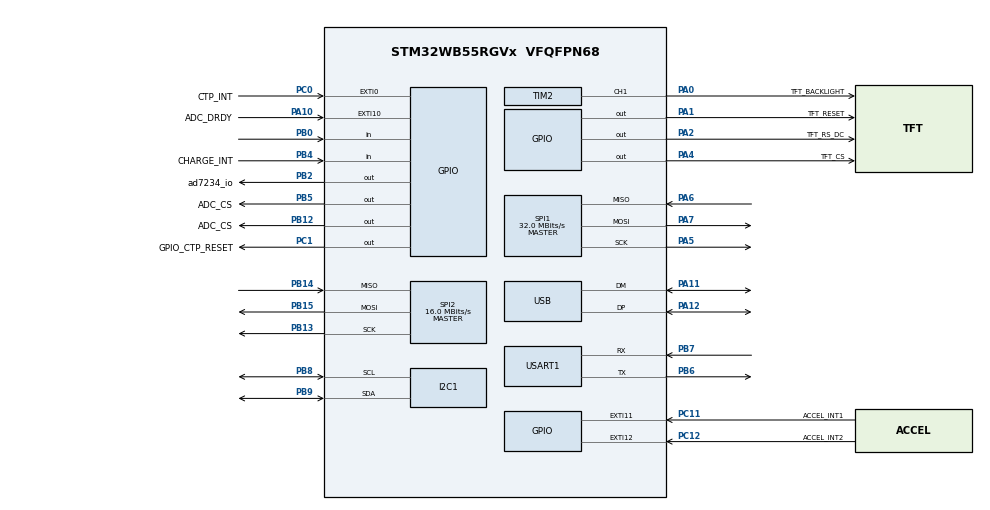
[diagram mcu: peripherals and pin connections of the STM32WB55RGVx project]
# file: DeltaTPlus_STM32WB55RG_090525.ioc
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Dma.Request0=SPI1_TX
Dma.SPI1_TX.0.Direction=DMA_MEMORY_TO_PERIPH
Dma.SPI1_TX.0.EventEnable=DISABLE
Dma.SPI1_TX.0.Instance=DMA1_Channel1
Dma.SPI1_TX.0.MemDataAlignment=DMA_MDATAALIGN_BYTE
Dma.SPI1_TX.0.MemInc=DMA_MINC_ENABLE
Dma.SPI1_TX.0.Mode=DMA_NORMAL
Dma.SPI1_TX.0.PeriphDataAlignment=DMA_PDATAALIGN_BYTE
Dma.SPI1_TX.0.PeriphInc=DMA_PINC_DISABLE
Dma.SPI1_TX.0.Polarity=HAL_DMAMUX_REQ_GEN_RISING
Dma.SPI1_TX.0.Priority=DMA_PRIORITY_HIGH
Dma.SPI1_TX.0.RequestNumber=1
Dma.SPI1_TX.0.SignalID=NONE
Dma.SPI1_TX.0.SyncEnable=DISABLE
Dma.SPI1_TX.0.SyncPolarity=HAL_DMAMUX_SYNC_NO_EVENT
Dma.SPI1_TX.0.SyncRequestNumber=1
Dma.SPI1_TX.0.SyncSignalID=NONE
I2C1.Timing=0x10B17DB5
Mcu.Family=STM32WB
Mcu.Name=STM32WB55RGVx
Mcu.Package=VFQFPN68
NVIC.DMA1_Channel1_IRQn=true\:0\:0\:false\:false\:true\:false\:true\:true
NVIC.EXTI0_IRQn=true\:0\:0\:false\:false\:true\:true\:true\:true
NVIC.EXTI15_10_IRQn=true\:0\:0\:false\:false\:true\:true\:true\:true
NVIC.HSEM_IRQn=true\:0\:0\:false\:false\:true\:false\:true\:true
NVIC.IPCC_C1_RX_IRQn=true\:0\:0\:false\:false\:true\:true\:true\:true
NVIC.IPCC_C1_TX_IRQn=true\:0\:0\:false\:false\:true\:true\:true\:true
NVIC.PriorityGroup=NVIC_PRIORITYGROUP_4
NVIC.RTC_WKUP_IRQn=true\:0\:0\:false\:false\:true\:true\:true\:true
NVIC.SPI1_IRQn=true\:0\:0\:false\:false\:true\:true\:true\:true
NVIC.TIM1_UP_TIM16_IRQn=true\:0\:0\:false\:false\:true\:true\:true\:true
NVIC.USART1_IRQn=true\:0\:0\:false\:false\:true\:true\:true\:true
NVIC.USB_LP_IRQn=true\:0\:0\:false\:false\:true\:true\:true\:true
OSC_IN.Mode=HSE-External-Oscillator
OSC_IN.Signal=RCC_OSC_IN
OSC_OUT.Mode=HSE-External-Oscillator
OSC_OUT.Signal=RCC_OSC_OUT
PA0.GPIO_Label=TFT_BACKLIGHT
PA0.Signal=S_TIM2_CH1
PA1.GPIO_Label=TFT_RESET
PA1.Signal=GPIO_Output
PA10.GPIO_Label=ADC_DRDY
PA10.GPIO_ModeDefaultEXTI=GPIO_MODE_IT_FALLING
PA10.GPIO_PuPd=GPIO_PULLUP
PA10.Signal=GPXTI10
PA11.Mode=Device
PA11.Signal=USB_DM
PA12.Mode=Device
PA12.Signal=USB_DP
PA13.Mode=Trace_Asynchronous_SW
PA13.Signal=SYS_JTMS-SWDIO
PA14.Mode=Trace_Asynchronous_SW
PA14.Signal=SYS_JTCK-SWCLK
PA2.GPIO_Label=TFT_RS_DC
PA2.Signal=GPIO_Output
PA4.GPIO_Label=TFT_CS
PA4.GPIO_Speed=GPIO_SPEED_FREQ_VERY_HIGH
PA4.PinState=GPIO_PIN_RESET
PA4.Signal=GPIO_Output
PA5.GPIO_Speed=GPIO_SPEED_FREQ_VERY_HIGH
PA5.Mode=Full_Duplex_Master
PA5.Signal=SPI1_SCK
PA6.GPIO_Speed=GPIO_SPEED_FREQ_VERY_HIGH
PA6.Mode=Full_Duplex_Master
PA6.Signal=SPI1_MISO
PA7.GPIO_Speed=GPIO_SPEED_FREQ_VERY_HIGH
PA7.Mode=Full_Duplex_Master
PA7.Signal=SPI1_MOSI
PB0.Signal=GPIO_Input
PB12.GPIO_Label=ADC_CS
PB12.GPIO_Speed=GPIO_SPEED_FREQ_VERY_HIGH
PB12.Signal=GPIO_Output
PB13.GPIO_Speed=GPIO_SPEED_FREQ_VERY_HIGH
PB13.Mode=Full_Duplex_Master
PB13.Signal=SPI2_SCK
PB14.Mode=Full_Duplex_Master
PB14.Signal=SPI2_MISO
PB15.GPIO_Speed=GPIO_SPEED_FREQ_VERY_HIGH
PB15.Mode=Full_Duplex_Master
PB15.Signal=SPI2_MOSI
PB2.GPIO_Label=ad7234_io
PB2.Signal=GPIO_Output
PB3.Mode=Trace_Asynchronous_SW
PB3.Signal=SYS_JTDO-SWO
PB4.GPIO_Label=CHARGE_INT
PB4.Signal=GPIO_Input
PB5.GPIO_Label=ADC_CS
PB5.Signal=GPIO_Output
PB6.Mode=Asynchronous
PB6.Signal=USART1_TX
PB7.Mode=Asynchronous
PB7.Signal=USART1_RX
PB8.Mode=I2C
PB8.Signal=I2C1_SCL
PB9.Mode=I2C
PB9.Signal=I2C1_SDA
PC0.GPIO_Label=CTP_INT
PC0.GPIO_ModeDefaultEXTI=GPIO_MODE_IT_FALLING
PC0.GPIO_PuPd=GPIO_PULLUP
PC0.Signal=GPXTI0
PC1.GPIO_Label=GPIO_CTP_RESET
PC1.PinState=GPIO_PIN_SET
PC1.Signal=GPIO_Output
PC11.GPIO_Label=ACCEL_INT1
PC11.GPIO_ModeDefaultEXTI=GPIO_MODE_IT_RISING
PC11.GPIO_PuPd=GPIO_PULLDOWN
PC11.Signal=GPXTI11
PC12.GPIO_Label=ACCEL_INT2
PC12.GPIO_ModeDefaultEXTI=GPIO_MODE_IT_RISING
PC12.GPIO_PuPd=GPIO_PULLDOWN
PC12.Signal=GPXTI12
PC14-OSC32_IN.Mode=LSE-External-Oscillator
PC14-OSC32_IN.Signal=RCC_OSC32_IN
PC15-OSC32_OUT.Mode=LSE-External-Oscillator
PC15-OSC32_OUT.Signal=RCC_OSC32_OUT
ProjectManager.HeapSize=0x400
ProjectManager.StackSize=0x1000
ProjectManager.TargetToolchain=STM32CubeIDE
RCC.ADCFreq_Value=48000000
RCC.AHB2CLKDivider=RCC_SYSCLK_DIV2
RCC.AHBFreq_Value=64000000
RCC.APB1Freq_Value=64000000
RCC.APB1TimFreq_Value=64000000
RCC.APB2Freq_Value=64000000
RCC.APB2TimFreq_Value=64000000
RCC.APB3Freq_Value=16000000
RCC.CortexFreq_Value=64000000
RCC.HCLKFreq_Value=64000000
RCC.HSE_VALUE=32000000
RCC.HSI48_VALUE=48000000
RCC.HSI_VALUE=16000000
RCC.PLLN=32
RCC.PLLSAI1N=24
RCC.RFWKPClockSelection=RCC_RFWKPCLKSOURCE_LSE
RCC.RTCClockSelection=RCC_RTCCLKSOURCE_LSE
RCC.SMPSCLockSelection=RCC_SMPSCLKSOURCE_HSE
RCC.SMPSDivider=4
RCC.SYSCLKFreq_VALUE=64000000
RCC.SYSCLKSource=RCC_SYSCLKSOURCE_PLLCLK
RCC.USBFreq_Value=48000000
RCC.VCOOutputFreq_Value=128000000
RF1.Mode=RF1_Activate
RF1.Signal=RF_RF1
SH.S_TIM2_CH1.0=TIM2_CH1,PWM Generation1 CH1
SPI1.BaudRatePrescaler=SPI_BAUDRATEPRESCALER_2
SPI1.CLKPhase=SPI_PHASE_1EDGE
SPI1.CLKPolarity=SPI_POLARITY_LOW
SPI1.CalculateBaudRate=32.0 MBits/s
SPI1.DataSize=SPI_DATASIZE_8BIT
SPI1.Direction=SPI_DIRECTION_2LINES
SPI1.Mode=SPI_MODE_MASTER
SPI1.VirtualType=VM_MASTER
SPI2.BaudRatePrescaler=SPI_BAUDRATEPRESCALER_4
SPI2.CLKPhase=SPI_PHASE_2EDGE
SPI2.CLKPolarity=SPI_POLARITY_HIGH
SPI2.CalculateBaudRate=16.0 MBits/s
SPI2.DataSize=SPI_DATASIZE_8BIT
SPI2.Direction=SPI_DIRECTION_2LINES
SPI2.Mode=SPI_MODE_MASTER
SPI2.VirtualType=VM_MASTER
STM32_WPAN.AD_TYPE_COMPLETE_LOCAL_NAME=MyCST
STM32_WPAN.AD_TYPE_COMPLETE_LOCAL_NAME_LENGTH=6
STM32_WPAN.CFG_BLE_NUM_LINK=8
STM32_WPAN.CFG_GAP_DEVICE_NAME=MY_APPLI
STM32_WPAN.CFG_LSCLK_LSE=0
STM32_WPAN.CFG_TX_POWER=(0x19) /* 0dBm */
STM32_WPAN.CUSTOM_P2P_SERVER=Enabled
STM32_WPAN.CUSTOM_TEMPLATE=Disabled
STM32_WPAN.DBG_TRACE_USE_CIRCULAR_QUEUE=1
STM32_WPAN.INCLUDE_AD_TYPE_COMPLETE_LOCAL_NAME=1
STM32_WPAN.INCLUDE_AD_TYPE_MANUFACTURER_SPECIFIC_DATA=1
STM32_WPAN.INCLUDE_AD_TYPE_TX_POWER_LEVEL=1
STM32_WPAN.LOCAL_NAME=DTP
STM32_WPAN.LOCAL_NAME_FORMATTED=,'D','T','P'
STM32_WPAN.NUMBER_OF_SERVICES=1
STM32_WPAN.SERVICE1_CHAR1_GATT_NOTIFY_READ_REQ_AND_WAIT_FOR_APPL_RESP=\ 
STM32_WPAN.SERVICE1_CHAR1_GATT_NOTIFY_WRITE_REQ_AND_WAIT_FOR_APPL_RESP=\ 
STM32_WPAN.SERVICE1_CHAR1_LENGTH_CHARACTERISTIC=CHAR_VALUE_LEN_VARIABLE
STM32_WPAN.SERVICE1_CHAR1_LONG_NAME=My_LED_Char
STM32_WPAN.SERVICE1_CHAR1_PROP_READ=CHAR_PROP_READ
STM32_WPAN.SERVICE1_CHAR1_PROP_WRITE_WITHOUT_RESP=CHAR_PROP_WRITE_WITHOUT_RESP
STM32_WPAN.SERVICE1_CHAR1_SHORT_NAME=LED_C
STM32_WPAN.SERVICE1_CHAR1_UUID=FE 41
STM32_WPAN.SERVICE1_CHAR1_VALUE_LENGTH=2
STM32_WPAN.SERVICE1_CHAR2_GATT_NOTIFY_READ_REQ_AND_WAIT_FOR_APPL_RESP=\ 
STM32_WPAN.SERVICE1_CHAR2_GATT_NOTIFY_WRITE_REQ_AND_WAIT_FOR_APPL_RESP=\ 
STM32_WPAN.SERVICE1_CHAR2_LENGTH_CHARACTERISTIC=CHAR_VALUE_LEN_VARIABLE
STM32_WPAN.SERVICE1_CHAR2_LONG_NAME=My_Switch_Char
STM32_WPAN.SERVICE1_CHAR2_PROP_NOTIFY=CHAR_PROP_NOTIFY
STM32_WPAN.SERVICE1_CHAR2_SHORT_NAME=SWITCH_C
STM32_WPAN.SERVICE1_CHAR2_UUID=FE 42
STM32_WPAN.SERVICE1_CHAR2_VALUE_LENGTH=2
STM32_WPAN.SERVICE1_CHAR3_GATT_NOTIFY_READ_REQ_AND_WAIT_FOR_APPL_RESP=\ 
STM32_WPAN.SERVICE1_CHAR3_GATT_NOTIFY_WRITE_REQ_AND_WAIT_FOR_APPL_RESP=\ 
STM32_WPAN.SERVICE1_CHAR3_LENGTH_CHARACTERISTIC=CHAR_VALUE_LEN_VARIABLE
STM32_WPAN.SERVICE1_CHAR3_LONG_NAME=REBOOT_REQUEST_CHAR
STM32_WPAN.SERVICE1_CHAR3_PROP_WRITE_WITHOUT_RESP=CHAR_PROP_WRITE_WITHOUT_RESP
STM32_WPAN.SERVICE1_CHAR3_SHORT_NAME=REBOOT_REQUEST_CH
STM32_WPAN.SERVICE1_CHAR3_UUID=00 00 FE 11 8E 22 45 41 9D 4C 21 ED AE 82 ED 19
STM32_WPAN.SERVICE1_CHAR3_UUID_128_INPUT_TYPE=1
STM32_WPAN.SERVICE1_CHAR3_VALUE_LENGTH=3
STM32_WPAN.SERVICE1_CHAR4_GATT_NOTIFY_ATTRIBUTE_WRITE=\ 
STM32_WPAN.SERVICE1_CHAR4_GATT_NOTIFY_READ_REQ_AND_WAIT_FOR_APPL_RESP=\ 
STM32_WPAN.SERVICE1_CHAR4_GATT_NOTIFY_WRITE_REQ_AND_WAIT_FOR_APPL_RESP=\ 
STM32_WPAN.SERVICE1_CHAR4_LENGTH_CHARACTERISTIC=CHAR_VALUE_LEN_VARIABLE
STM32_WPAN.SERVICE1_CHAR4_LONG_NAME=DELTA_T_CHAR
STM32_WPAN.SERVICE1_CHAR4_PROP_NOTIFY=CHAR_PROP_NOTIFY
STM32_WPAN.SERVICE1_CHAR4_SHORT_NAME=DELTA_T_CH
STM32_WPAN.SERVICE1_CHAR4_UUID=FE 43
STM32_WPAN.SERVICE1_CHAR4_VALUE_LENGTH=4
STM32_WPAN.SERVICE1_LONG_NAME=My_P2P_Server
STM32_WPAN.SERVICE1_NUMBER_OF_CHARACTERISTICS=4
STM32_WPAN.SERVICE1_SHORT_NAME=P2PS
STM32_WPAN.SERVICE1_UUID=FE 40
TIM16.AutoReloadPreload=TIM_AUTORELOAD_PRELOAD_ENABLE
TIM16.Period=99
TIM16.Prescaler=63
TIM2.Channel-PWM\ Generation1\ CH1=TIM_CHANNEL_1
TIM2.Period=999
TIM2.Prescaler=31
USART1.VirtualMode-Asynchronous=VM_ASYNC
USB_DEVICE.CLASS_NAME_FS=DFU
USB_DEVICE.VirtualMode=Dfu
USB_DEVICE.VirtualModeFS=Dfu_FS
VP_HSEM_VS_HSEM.Mode=HSEM_Activate
VP_IPCC_VS_IPCC.Mode=IPCC_Activate
VP_MEMORYMAP_VS_MEMORYMAP.Mode=CurAppReg
VP_RNG_VS_RNG.Mode=RNG_Activate
VP_RTC_VS_RTC_Activate.Mode=RTC_Enabled
VP_RTC_VS_RTC_WakeUp_intern.Mode=WakeUp
VP_SEQUENCER_VS_SEQUENCER.Mode=SEQUENCER_Enabled
VP_STM32_WPAN_VS_BLE_HOST.Mode=STM32_WPAN_Enabled
VP_TIM16_VS_ClockSourceINT.Mode=Enable_Timer
VP_TINY_LPM_VS_TINY_LPM.Mode=TINY_LPM_Enabled
VP_USB_DEVICE_VS_USB_DEVICE_DFU_FS.Mode=DFU_FS
board=custom

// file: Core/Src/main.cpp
/* USER CODE BEGIN Header */
/**
 ******************************************************************************
 * @file           : main.c
 * @brief          : Main program body
 ******************************************************************************
 * @attention
 *
 * Copyright (c) 2025 STMicroelectronics.
 * All rights reserved.
 *
 * This software is licensed under terms that can be found in the LICENSE file
 * in the root directory of this software component.
 * If no LICENSE file comes with this software, it is provided AS-IS.
 *
 ******************************************************************************
 */
/* USER CODE END Header */

#include <accel.h>
#include <backlight.h>
#include "main.h"
#include "dma.h"
#include "i2c.h"
#include "ipcc.h"
#include "memorymap.h"
#include "rf.h"
#include "rtc.h"
#include "rng.h"
#include "spi.h"
#include "tim.h"
#include "usart.h"
#include "usb_device.h"
#include "gpio.h"
/* USER CODE BEGIN Includes */
// #include "Adafruit_GFX.h"
#include "usbd_cdc_if.h"
#include "stm32_seq.h"
#include <string.h>

#include "Thermocouples.hpp"
// #include "Thermocouples2.h"
#include "ad7124-driver.h"
#include "DeltaT.h"
#include "BatteryMonitor.h"
#include "FT5436_Touch.h"
#include <stdarg.h>  //

FlashStorage_t storage;
uint8_t calibrationSamples = 0;
uint8_t calibrationReady = 0;
uint8_t calibrate = 0;

#ifdef USE_SERVER
#include "p2p_server_app.h"
#else
#include "p2p_client_app.h"
#endif

#include "widgets.h"

#define LV_LVGL_H_INCLUDE_SIMPLE

#include <math.h>

#include "lvgl.h"
#include "lv_port_disp.h"

// #include "ST7789.h"

/* USER CODE END Includes */

int ble_delay = 0;
int send_ble = 0;

/* USER CODE BEGIN PTD */
#define UART_RX_BUFFER_SIZE 256
uint8_t UART_RX_BUFFER[UART_RX_BUFFER_SIZE] = {0};
uint8_t UART_BUFFER[UART_RX_BUFFER_SIZE] = {0};

uint8_t UART_RX_BYTE = 0;
uint8_t UART_RX_READY = 0;
volatile int uart_ready = 0;

// static uint8_t buffer2[ST7789_WIDTH * ST7789_HEIGHT / 32 * BYTE_PER_PIXEL];
/* USER CODE END PTD */

// static struct ad7124_dev *pAd7124_dev = NULL;

/* USER CODE BEGIN PV */
/*Copy this file as "lv_port_disp.c" and set this value to "1" to enable content*/
#if 1

/*********************
 *      INCLUDES
 *********************/
/* Include STM32Cube files here, e.g.:
#include "stm32f7xx_hal.h"
*/
#include "lv_port_disp.h"
#include "./src/drivers/display/st7789/lv_st7789.h"

/*********************
 *      DEFINES
 *********************/
#define MY_DISP_HOR_RES 240

#ifndef MY_DISP_HOR_RES
#warning Please define or replace the macro MY_DISP_HOR_RES with the actual screen width, default value 320 is used for now.
#define MY_DISP_HOR_RES 320
#endif

#define MY_DISP_VER_RES 320

#ifndef MY_DISP_VER_RES
#warning Please define or replace the macro MY_DISP_VER_RES with the actual screen height, default value 240 is used for now.
#define MY_DISP_VER_RES 240
#endif

#define BUS_SPI1_POLL_TIMEOUT 0x1000U

/**********************
 *      TYPEDEFS
 **********************/

/**********************
 *  STATIC PROTOTYPES
 **********************/
void lcd_color_transfer_ready_cb(SPI_HandleTypeDef *hspi);
int32_t lcd_io_init(void);
void lcd_send_cmd(lv_display_t *disp, const uint8_t *cmd, size_t cmd_size, const uint8_t *param,
                  size_t param_size);
void lcd_send_color(lv_display_t *disp, const uint8_t *cmd, size_t cmd_size, uint8_t *param,
                    size_t param_size);

/**********************
 *  STATIC VARIABLES
 **********************/
lv_indev_t *indev;

lv_display_t *lcd_disp;
volatile int lcd_bus_busy = 0;

/**********************
 *      MACROS
 **********************/
void debug_printf(const char *format, ...)
{
    char buffer[128];
    va_list args;
    va_start(args, format);
    int len = vsnprintf(buffer, sizeof(buffer), format, args);
    va_end(args);

    if (len > 0) {
        //HAL_UART_Transmit(&huart1, (uint8_t*)buffer, len, 100);
        CDC_Transmit_FS((uint8_t*)buffer, len);
    }
}
/**********************
 *   GLOBAL FUNCTIONS
 **********************/

void lv_port_disp_init(void)
{
  /* Initialize LCD I/O */
  if (lcd_io_init() != 0)
    return;

  /* Create the LVGL display object and the ST7789 LCD display driver */
  lcd_disp = lv_st7789_create(MY_DISP_HOR_RES, MY_DISP_VER_RES, LV_LCD_FLAG_NONE, lcd_send_cmd, lcd_send_color);
  lv_display_set_rotation(lcd_disp, LV_DISPLAY_ROTATION_180); /* set landscape orientation */

  lv_display_set_color_format(lcd_disp, LV_COLOR_FORMAT_RGB565_SWAPPED);

  lv_display_set_buffers(lcd_disp, draw_buffer1, draw_buffer2, DRAW_BUFFER_SIZE, LV_DISPLAY_RENDER_MODE_PARTIAL);
}

/**********************
 *   STATIC FUNCTIONS
 **********************/

/* Callback is called when background transfer finished */
void lcd_color_transfer_ready_cb(SPI_HandleTypeDef *hspi)
{
  /* CS high */
  HAL_GPIO_WritePin(GPIOA, GPIO_PIN_4, GPIO_PIN_SET);
  lcd_bus_busy = 0;
  lv_display_flush_ready(lcd_disp);
}

/* Initialize LCD I/O bus, reset LCD */
int32_t lcd_io_init(void)
{
  /* Register SPI Tx Complete Callback */
  // HAL_SPI_RegisterCallback(&hspi1, HAL_SPI_TX_COMPLETE_CB_ID, lcd_color_transfer_ready_cb);

  /* reset LCD */
  HAL_GPIO_WritePin(GPIOA, GPIO_PIN_1, GPIO_PIN_SET);
  HAL_Delay(1);
  HAL_GPIO_WritePin(GPIOA, GPIO_PIN_1, GPIO_PIN_RESET);
  HAL_Delay(10);
  HAL_GPIO_WritePin(GPIOA, GPIO_PIN_1, GPIO_PIN_SET);
  HAL_Delay(120);

  HAL_GPIO_WritePin(GPIOA, GPIO_PIN_4, GPIO_PIN_SET);
  HAL_GPIO_WritePin(GPIOA, GPIO_PIN_2, GPIO_PIN_SET);

  return HAL_OK;
}

/* Platform-specific implementation of the LCD send command function. In general this should use polling transfer. */
void lcd_send_cmd(lv_display_t *disp, const uint8_t *cmd, size_t cmd_size, const uint8_t *param,
                  size_t param_size)
{
  LV_UNUSED(disp);
  while (lcd_bus_busy)
    ; /* wait until previous transfer is finished */
  /* Set the SPI in 8-bit mode */
  hspi1.Init.DataSize = SPI_DATASIZE_8BIT;
  HAL_SPI_Init(&hspi1);
  /* DCX low (command) */
  HAL_GPIO_WritePin(GPIOA, GPIO_PIN_2, GPIO_PIN_RESET);
  /* CS low */
  HAL_GPIO_WritePin(GPIOA, GPIO_PIN_4, GPIO_PIN_RESET);
  /* send command */
  if (HAL_SPI_Transmit(&hspi1, cmd, cmd_size, BUS_SPI1_POLL_TIMEOUT) == HAL_OK)
  {
    /* DCX high (data) */
    HAL_GPIO_WritePin(GPIOA, GPIO_PIN_2, GPIO_PIN_SET);
    /* for short data blocks we use polling transfer */
    HAL_SPI_Transmit(&hspi1, (uint8_t *)param, (uint16_t)param_size, BUS_SPI1_POLL_TIMEOUT);
    /* CS high */
    HAL_GPIO_WritePin(GPIOA, GPIO_PIN_4, GPIO_PIN_SET);
  }
}

/* Platform-specific implementation of the LCD send color function. For better performance this should use DMA transfer.
 * In case of a DMA transfer a callback must be installed to notify LVGL about the end of the transfer.
 */
void lcd_send_color(lv_display_t *disp, const uint8_t *cmd, size_t cmd_size, uint8_t *param,
                    size_t param_size)
{

  // snprintf((char *)UART_BUFFER, 64, "lcd_send_color\r\n");
  // HAL_UART_Transmit_IT(&huart1, UART_BUFFER, strlen((char *)UART_BUFFER));

  LV_UNUSED(disp);
  while (lcd_bus_busy)
    ; /* wait until previous transfer is finished */
  /* Set the SPI in 8-bit mode */
  hspi1.Init.DataSize = SPI_DATASIZE_8BIT;
  HAL_SPI_Init(&hspi1);
  /* DCX low (command) */
  HAL_GPIO_WritePin(GPIOA, GPIO_PIN_2, GPIO_PIN_RESET);
  /* CS low */
  HAL_GPIO_WritePin(GPIOA, GPIO_PIN_4, GPIO_PIN_RESET);
  /* send command */
  if (HAL_SPI_Transmit(&hspi1, cmd, cmd_size, BUS_SPI1_POLL_TIMEOUT) == HAL_OK)
  {
    /* DCX high (data) */
    HAL_GPIO_WritePin(GPIOA, GPIO_PIN_2, GPIO_PIN_SET);
    /* for color data use DMA transfer */
    /* Set the SPI in 16-bit mode to match endianness */
    // hspi1.Init.DataSize = SPI_DATASIZE_16BIT;
    // HAL_SPI_Init(&hspi1);
    lcd_bus_busy = 1;
    HAL_SPI_Transmit_DMA(&hspi1, param, (uint16_t)param_size);
    /* NOTE: CS will be reset in the transfer ready callback */
  }
}

#else /*Enable this file at the top*/

/*This dummy typedef exists purely to silence -Wpedantic.*/
typedef int keep_pedantic_happy;
#endif

/* USER CODE END PV */

void SystemClock_Config(void);
void PeriphCommonClock_Config(void);

/* USER CODE BEGIN 0 */
volatile int timerCounter = 0;
volatile int run_lv_timer_handler = 0;
volatile uint32_t loopCounter = 0;
volatile uint32_t loopsPerSecond = 0;
volatile uint8_t measureFlag = 0;
uint32_t SERIAL_NUMBER = 1234;

void HAL_UART_RxCpltCallback(UART_HandleTypeDef *huart)
{
  if (huart->Instance == USART1)
  {
    static uint16_t bufferIndex = 0;
    static uint8_t parseActive = 0;

    uint8_t temp = UART_RX_BYTE;

    /* If new string starts, reset buffer */
    if (temp == '$')
    {
      bufferIndex = 0;
      parseActive = 1;
      UART_RX_READY = 0;
    }

    if (parseActive)
    {
      /* Store byte in buffer */
      UART_RX_BUFFER[bufferIndex] = temp;

      /* Check if string is complete (ends with \n) */
      if (temp == 0x0A && UART_RX_BUFFER[0] == '$')
      {
        /* Null-terminate the string */
        UART_RX_BUFFER[bufferIndex + 1] = 0;

        /* Signal that data is ready for processing */
        UART_RX_READY = 1;
        parseActive = 0;
      }
      else
      {
        /* Continue filling buffer */
        if (bufferIndex < UART_RX_BUFFER_SIZE - 2)
          bufferIndex++;
      }
    }

    /* Re-enable interrupt for next byte */
    HAL_UART_Receive_IT(huart, &UART_RX_BYTE, 1);
  }
}

void UART_RX_HANDLER(void)
{

  if (UART_RX_READY)
  {
    UART_RX_READY = 0;

    if (strcmp((char *)UART_RX_BUFFER, "$accel") == 0)
    {
    }

    // HAL_UART_Transmit_IT(&huart1, UART_RX_BUFFER, strlen((char *)UART_RX_BUFFER));
  }
}

// main timer implementation
void HAL_TIM_PeriodElapsedCallback(TIM_HandleTypeDef *htim)
{
  if (htim == &htim16)
  {
    // 0.1ms timers
    timerCounter++;

    // 1ms
    if ((timerCounter % 10) == 0)
    {
      lv_tick_inc(1);

      if ((timerCounter % 200) == 0)
      {
        run_lv_timer_handler = 1;
      }

      if (thermocoupleDelay) {
    	  thermocoupleDelay--;
      }

      if(backlightDelay){
    	  backlightDelay--;
      }

    }

    //if (myThermocouples.delay)
    //{
    //  myThermocouples.delay--;
    //}

    if (ble_delay)
    {
    	ble_delay--;
    }

    // if (accelDelay)
    // {
    //  myAccelerometer.readDelay--;
    // }

    // 100 ms timers //
    if ((timerCounter % 1000) == 0)
    {
    }

    // 1000 ms timers //
    if ((timerCounter % 10000) == 0)
    {

      loopsPerSecond = loopCounter;
      loopCounter = 0;
      measureFlag = 1; // Signal to print result

      timerCounter = 0;
      if (accelDelay)
      {
        accelDelay--;
      }
    }
    //}
  }
}

void HAL_SPI_TxCpltCallback(SPI_HandleTypeDef *hspi)
{

  if (hspi == &hspi1)
  {
    lcd_color_transfer_ready_cb(hspi);
  }
}

void HAL_I2C_MemRxCpltCallback(I2C_HandleTypeDef *hi2c)
{
  if (hi2c->Instance == hi2c1.Instance)
  {
    // accelerometerProcessData();
  }
}

void HAL_UART_TxCpltCallback(UART_HandleTypeDef *huart)
{
  if (huart->Instance == USART1)
  {
    // Transmission done
    uart_ready = 1;
  }
}

void HAL_GPIO_EXTI_Callback(uint16_t GPIO_Pin)
{

  if (GPIO_Pin == ACCEL_INT1_Pin)
  {
    int1_triggered = 1;
  }

  if (GPIO_Pin == ACCEL_INT2_Pin)
  {
    int2_triggered = 1;
  }

  if (GPIO_Pin == CTP_INT_Pin)
  {
    // touch_handler();
    Touch_FT5436_IRQHandler(&touch_controller, CTP_INT_Pin);
  }

  if (GPIO_Pin == ADC_DRDY_Pin)
  {
    ad7124_rdy_flag = 1;
  }
}

#define STORAGE_FLASH_ADDR  0x080BFE50

void Flash_Read(FlashStorage_t *out) {
    FlashStorage_t *stored = (FlashStorage_t *)STORAGE_FLASH_ADDR;
    *out = *stored;
    // check for blank flash
    if (out->serialNumber == 0xFFFFFFFF) out->serialNumber = 0;
    if (out->calibration  == 0xFFFFFFFF) out->calibration  = 0x80000000;
}

void Flash_Write(FlashStorage_t *data) {
    HAL_FLASH_Unlock();

    FLASH_EraseInitTypeDef erase = {
        .TypeErase = FLASH_TYPEERASE_PAGES,
        .Page      = (STORAGE_FLASH_ADDR - FLASH_BASE) / FLASH_PAGE_SIZE,
        .NbPages   = 1
    };
    uint32_t pageError;
    HAL_FLASHEx_Erase(&erase, &pageError);

    // Write as series of 64-bit double-words
    uint64_t *src = (uint64_t *)data;
    uint32_t addr = STORAGE_FLASH_ADDR;
    for (int i = 0; i < sizeof(FlashStorage_t) / 8; i++) {
        HAL_FLASH_Program(FLASH_TYPEPROGRAM_DOUBLEWORD, addr, src[i]);
        addr += 8;
    }

    HAL_FLASH_Lock();
}

/*

/* USER CODE END 0 */

void EnterDFUMode(void)
{
	FLASH_OBProgramInitTypeDef OBInit = {0};
	HAL_FLASH_Unlock();
	HAL_FLASH_OB_Unlock();
	OBInit.OptionType = OPTIONBYTE_USER;
	OBInit.UserType   = OB_USER_nSWBOOT0 | OB_USER_nBOOT0;
	OBInit.UserConfig = 0x00; // set to option bit to tell bootloader to use dfu
	HAL_FLASHEx_OBProgram(&OBInit);
	HAL_FLASH_OB_Launch();

}

int main(void)
{

	HAL_Init();

	Flash_Read(&storage);          // read current values

	 SERIAL_NUMBER = storage.serialNumber;

	SystemClock_Config();
	/* rest of init... */

  /* Configure the peripherals common clocks */
  PeriphCommonClock_Config();

  /* Config code for STM32_WPAN (HSE Tuning must be done before system clock configuration) */
  MX_APPE_Config();

  /* IPCC initialisation */
  MX_IPCC_Init();

  /* Initialize all configured peripherals */
  MX_GPIO_Init();
  MX_DMA_Init();
  MX_RTC_Init();
  MX_I2C1_Init();
  MX_SPI1_Init();
  MX_SPI2_Init();
  MX_TIM2_Init();
  MX_USART1_UART_Init();
  MX_TIM16_Init();
  MX_RF_Init();
  MX_RNG_Init();

  /* USER CODE BEGIN 2 */

  // MX_APPE_Init();

  HAL_Delay(100);
  MX_USB_Device_Init();
  HAL_Delay(100);

  HAL_TIM_Base_Start_IT(&htim16);
  HAL_NVIC_SetPriority(TIM1_UP_TIM16_IRQn, 0, 0);
  HAL_NVIC_EnableIRQ(TIM1_UP_TIM16_IRQn);
  /* USER CODE END 2 */

  /* Init code for STM32_WPAN */
  MX_APPE_Init();

  accelSetup();
  //debug_printf("sensors setup...\r\n");
  myThermocouples.setup();
  // thermocouplesSetup();

  ft5436_setup();

  setupBatteryMonitor();
  // ST7789_Init();

  // ST7789_FillScreen(0x1234);

  // HAL_Delay(2000);
  //  step 1. lv init
  lv_init();

  // step 2. driver init
  lv_port_disp_init();

  // step 3. connect the tick interface
  lv_tick_set_cb(HAL_GetTick);

  indev = lv_indev_create();
  lv_indev_set_type(indev, LV_INDEV_TYPE_POINTER);
  lv_indev_set_read_cb(indev, ft5436_read_touch_points);

  //debug_printf("disp setup...\r\n");

  load_screen(METER);

  backlightSetup();

#ifdef USE_SERVER
  snprintf((char *)UART_BUFFER, 64, "Server Setup finished\r\n");
#else
  snprintf((char *)UART_BUFFER, 64, "Client Setup finished\r\n");
#endif

  HAL_UART_Transmit_IT(&huart1, UART_BUFFER, strlen((char *)UART_BUFFER));
  HAL_UART_Receive_IT(&huart1, &UART_RX_BYTE, 1);

  CDC_Transmit_FS((uint8_t *)UART_BUFFER, strlen((char *)UART_BUFFER));

  /* Infinite loop */
  /* USER CODE BEGIN WHILE */
  while (1)
  {
    loopCounter++; // Increment at start of each iteration
    //if (lcd_bus_busy)
    //{
    //  snprintf((char *)UART_BUFFER, 32, "BUS BUSY %lu\r\n", HAL_GetTick());
    //  HAL_UART_Transmit(&huart1, UART_BUFFER, strlen((char *)UART_BUFFER), 10);
    //}
    /* USER CODE END WHILE */
    MX_APPE_Process();

    /* USER CODE BEGIN 3 */
    UART_RX_HANDLER();

    accelMain();
    backlightMain();
    // if(!myThermocouples.delay) {

//#ifdef USE_SERVER
    myThermocouples.stateMachine();
//#endif
    //    myThermocouples.delay = 1;
    //}

    if (measureFlag)
    {
      // uart_ready = 0;
      measureFlag = 0;
      //snprintf((char *)UART_BUFFER, 64, "Main loop: %lu Hz\r\n", loopsPerSecond);
      //HAL_UART_Transmit(&huart1, UART_BUFFER, strlen((char *)UART_BUFFER), 30);
      //debug_printf((const char *)UART_BUFFER);

    }

#ifdef USE_SERVER

    if (!ble_delay){
    	ble_delay = 167; //20ms??

        P2PS_APP_DeltaT_Action();

    }

#endif

    // should run at 20ms / 50fps
    if (run_lv_timer_handler)
    {
      run_lv_timer_handler = 0;
      lv_timer_handler(); // Run safely from main context
    }
  }
  /* USER CODE END 3 */
}

void SystemClock_Config(void)
{
  RCC_OscInitTypeDef RCC_OscInitStruct = {0};
  RCC_ClkInitTypeDef RCC_ClkInitStruct = {0};

  /** Configure LSE Drive Capability
   */
  HAL_PWR_EnableBkUpAccess();
  __HAL_RCC_LSEDRIVE_CONFIG(RCC_LSEDRIVE_MEDIUMHIGH);

  /** Configure the main internal regulator output voltage
   */
  __HAL_PWR_VOLTAGESCALING_CONFIG(PWR_REGULATOR_VOLTAGE_SCALE1);

  /** Initializes the RCC Oscillators according to the specified parameters
   * in the RCC_OscInitTypeDef structure.
   */
  RCC_OscInitStruct.OscillatorType = RCC_OSCILLATORTYPE_HSI | RCC_OSCILLATORTYPE_HSE | RCC_OSCILLATORTYPE_LSE | RCC_OSCILLATORTYPE_MSI;
  RCC_OscInitStruct.HSEState = RCC_HSE_ON;
  RCC_OscInitStruct.LSEState = RCC_LSE_ON;
  RCC_OscInitStruct.HSIState = RCC_HSI_ON;
  RCC_OscInitStruct.MSIState = RCC_MSI_ON;
  RCC_OscInitStruct.HSICalibrationValue = RCC_HSICALIBRATION_DEFAULT;
  RCC_OscInitStruct.MSICalibrationValue = RCC_MSICALIBRATION_DEFAULT;
  RCC_OscInitStruct.MSIClockRange = RCC_MSIRANGE_6;
  RCC_OscInitStruct.PLL.PLLState = RCC_PLL_ON;
  RCC_OscInitStruct.PLL.PLLSource = RCC_PLLSOURCE_MSI;
  RCC_OscInitStruct.PLL.PLLM = RCC_PLLM_DIV1;
  RCC_OscInitStruct.PLL.PLLN = 32;
  RCC_OscInitStruct.PLL.PLLP = RCC_PLLP_DIV2;
  RCC_OscInitStruct.PLL.PLLR = RCC_PLLR_DIV2;
  RCC_OscInitStruct.PLL.PLLQ = RCC_PLLQ_DIV2;
  if (HAL_RCC_OscConfig(&RCC_OscInitStruct) != HAL_OK)
  {
    Error_Handler();
  }

  /** Configure the SYSCLKSource, HCLK, PCLK1 and PCLK2 clocks dividers
   */
  RCC_ClkInitStruct.ClockType = RCC_CLOCKTYPE_HCLK4 | RCC_CLOCKTYPE_HCLK2 | RCC_CLOCKTYPE_HCLK | RCC_CLOCKTYPE_SYSCLK | RCC_CLOCKTYPE_PCLK1 | RCC_CLOCKTYPE_PCLK2;
  RCC_ClkInitStruct.SYSCLKSource = RCC_SYSCLKSOURCE_PLLCLK;
  RCC_ClkInitStruct.AHBCLKDivider = RCC_SYSCLK_DIV1;
  RCC_ClkInitStruct.APB1CLKDivider = RCC_HCLK_DIV1;
  RCC_ClkInitStruct.APB2CLKDivider = RCC_HCLK_DIV1;
  RCC_ClkInitStruct.AHBCLK2Divider = RCC_SYSCLK_DIV2;
  RCC_ClkInitStruct.AHBCLK4Divider = RCC_SYSCLK_DIV1;

  if (HAL_RCC_ClockConfig(&RCC_ClkInitStruct, FLASH_LATENCY_3) != HAL_OK)
  {
    Error_Handler();
  }

  /** Enable MSI Auto calibration
   */
  HAL_RCCEx_EnableMSIPLLMode();
}

void PeriphCommonClock_Config(void)
{
  RCC_PeriphCLKInitTypeDef PeriphClkInitStruct = {0};

  /** Initializes the peripherals clock
   */
  PeriphClkInitStruct.PeriphClockSelection = RCC_PERIPHCLK_SMPS | RCC_PERIPHCLK_RFWAKEUP;
  PeriphClkInitStruct.RFWakeUpClockSelection = RCC_RFWKPCLKSOURCE_LSE;
  PeriphClkInitStruct.SmpsClockSelection = RCC_SMPSCLKSOURCE_HSE;
  PeriphClkInitStruct.SmpsDivSelection = RCC_SMPSCLKDIV_RANGE1;

  if (HAL_RCCEx_PeriphCLKConfig(&PeriphClkInitStruct) != HAL_OK)
  {
    Error_Handler();
  }
  /* USER CODE BEGIN Smps */
  LL_HSEM_1StepLock(HSEM, 5);

  /* USER CODE END Smps */
}

void Error_Handler(void)
{
  __disable_irq();
  while (1)
  {
  }
}
